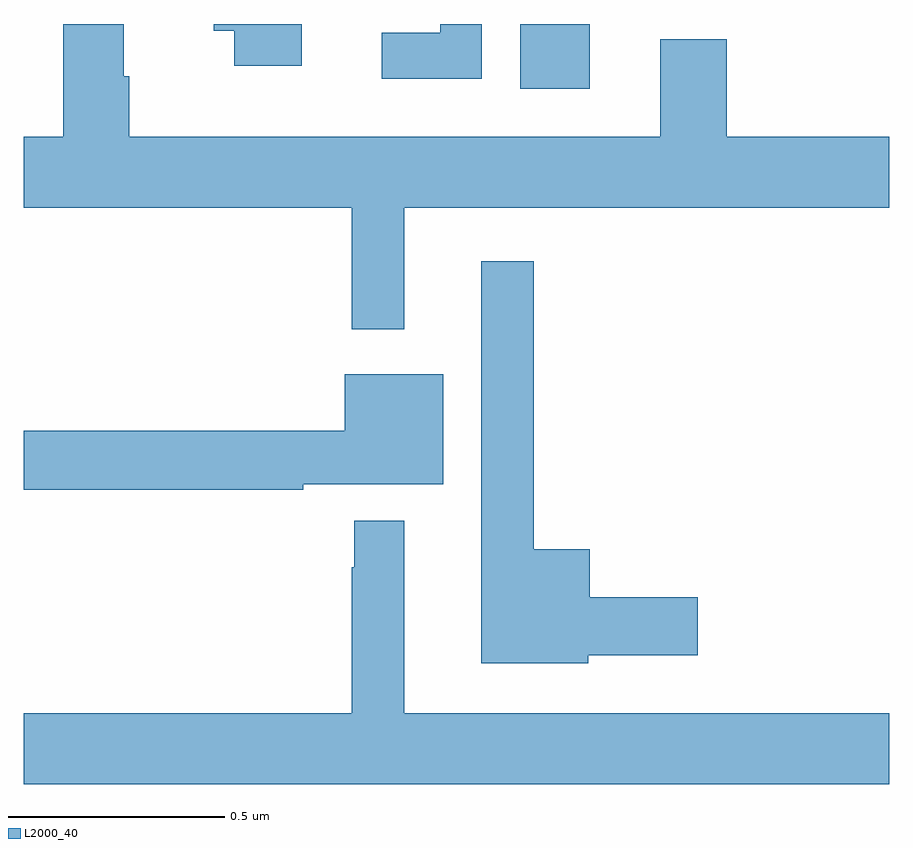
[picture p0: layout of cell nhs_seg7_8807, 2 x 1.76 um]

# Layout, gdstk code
import gdstk
lib = gdstk.Library(unit=1e-6, precision=1e-09)
def R(c, l, rs):  # rectangles x0, y0, x1, y1
    for r in rs: c.add(gdstk.rectangle(r[:2], r[2:], *l))
def P(c, l, *ps):  # polygons
    for p in ps: c.add(gdstk.Polygon(p, *l))
L2000_40 = (2000, 40)

nhs_seg7_8807 = lib.new_cell('nhs_seg7_8807')
R(nhs_seg7_8807, L2000_40, [(230.147,1040.85,230.308,1041)])
P(nhs_seg7_8807, L2000_40, [(229.879,1040.576),(231,1040.576),(231,1040.74),(230.624,1040.74),(230.624,1040.965),(230.471,1040.965),(230.471,1040.74),(229.244,1040.74),(229.244,1040.879),(229.231,1040.879),(229.231,1041),(229.091,1041),(229.091,1040.74),(229,1040.74),(229,1040.576),(229.758,1040.576),(229.758,1040.295),(229.879,1040.295)],
  [(230.058,1041),(229.962,1041),(229.962,1040.98),(229.827,1040.98),(229.827,1040.873),(230.058,1040.873)],
  [(229.642,1041),(229.439,1041),(229.439,1040.984),(229.487,1040.984),(229.487,1040.904),(229.642,1040.904)],
  [(230.304,1039.541),(230.557,1039.541),(230.557,1039.676),(230.308,1039.676),(230.308,1039.786),(230.179,1039.786),(230.179,1040.452),(230.057,1040.452),(230.057,1039.523),(230.304,1039.523)],
  [(229.646,1039.937),(229.969,1039.937),(229.969,1040.191),(229.742,1040.191),(229.742,1040.06),(229,1040.06),(229,1039.924),(229.646,1039.924)],
  [(231,1039.408),(229.879,1039.408),(229.879,1039.852),(229.764,1039.852),(229.764,1039.745),(229.758,1039.745),(229.758,1039.408),(229,1039.408),(229,1039.244),(231,1039.244)])

lib.write_gds('nhs_seg7_8807.gds')
